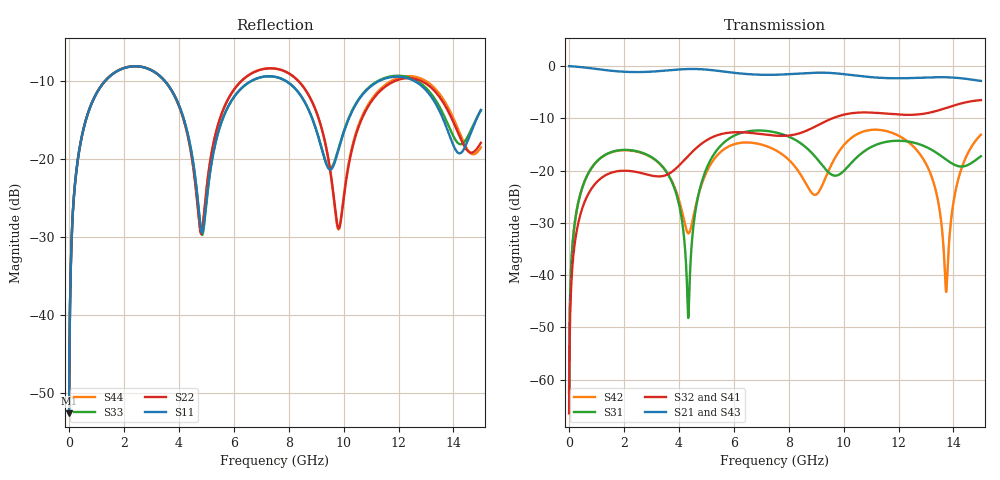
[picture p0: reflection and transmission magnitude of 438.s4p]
! Created with skrf 1.8.0 (http://scikit-rf.org).
# GHz S RI R 50.0
!freq ReS11 ImS11 ReS12 ImS12 ReS13 ImS13
! ReS14 ImS14
! ReS21 ImS21 ReS22 ImS22 ReS23 ImS23
! ReS24 ImS24
! ReS31 ImS31 ReS32 ImS32 ReS33 ImS33
! ReS34 ImS34
! ReS41 ImS41 ReS42 ImS42 ReS43 ImS43
! ReS44 ImS44
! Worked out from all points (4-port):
!   2499 points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, 5 MHz to 15 GHz, reference 50 ohm
!   strongest paths, dB at 5 MHz, 3.476 GHz, 7.19 GHz, 11.1 GHz, 15 GHz:
!     S21: 0.0, -0.9, -1.7, -2.2, -2.8
!     S43: 0.0, -0.9, -1.7, -2.2, -2.8
!     S32: -66.4, -21.0, -13.1, -8.9, -6.5
!     S41: -66.4, -21.0, -13.2, -8.9, -6.5
!     S31: -62.4, -19.7, -12.4, -15.2, -17.2
!     S42: -62.4, -19.7, -15.3, -12.2, -13.1
!   lowest |S11| = -52.7 dB at 5 MHz (marker M1), VSWR 1.00, Z = 50.2 + j0.141 ohm
!   |S11| at or under -10 dB: 3.485 GHz to 6.646 GHz (3.161 GHz wide, 62.4 % of centre); 7.892 GHz to 11.31 GHz (3.415 GHz wide, 35.6 % of centre); 12.57 GHz to end of sweep (the widest 3 of 4)
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0.005  0.00185 0.00141  0.9981 -0.00361  9.44e-05 0.00075  -9.15e-05 -0.000468
       0.9981 -0.00361  0.00185 0.00141  -9.15e-05 -0.000468  9.43e-05 0.00075
       9.44e-05 0.00075  -9.15e-05 -0.000468  0.00185 0.00141  0.9981 -0.00361
       -9.15e-05 -0.000468  9.43e-05 0.00075  0.9981 -0.00361  0.00185 0.00141
1.77574  0.3447 0.1256  0.3505 -0.8189  0.1533 0.0281  -0.095 0.0268
         0.3505 -0.8189  0.3456 0.1244  -0.0951 0.0269  0.1513 0.0326
         0.1533 0.0281  -0.0951 0.0269  0.3447 0.1257  0.3505 -0.8189
         -0.095 0.0268  0.1513 0.0326  0.3505 -0.8189  0.3457 0.1244
4.344091  0.0708 -0.1204  -0.8615 -0.3693  0.00388 0.000369  -0.0508 0.1287
          -0.8615 -0.3693  0.0679 -0.1172  -0.05 0.129  -0.0235 -0.00896
          0.00388 0.000369  -0.05 0.129  0.0703 -0.1209  -0.8615 -0.3693
          -0.0508 0.1287  -0.0235 -0.00896  -0.8615 -0.3693  0.0686 -0.1172
5.708629  0.1436 0.1411  -0.7663 0.4358  0.1698 0.0895  0.1472 0.174
          -0.7663 0.4358  0.1632 0.1544  0.1486 0.1735  0.0948 0.1341
          0.1698 0.0895  0.1486 0.1735  0.142 0.1417  -0.7661 0.436
          0.1472 0.174  0.0948 0.1341  -0.7661 0.436  0.1648 0.1537
9.766569  0.0938 0.0508  0.8447 0.0924  -0.0655 0.0616  0.0297 -0.3278
          0.8447 0.0924  0.0341 -0.0177  0.0246 -0.328  0.09 0.1115
          -0.0655 0.0616  0.0246 -0.328  0.0953 0.0526  0.8447 0.0908
          0.0297 -0.3278  0.09 0.1115  0.8447 0.0908  0.0337 -0.0154
13.73697  0.1402 -0.0785  -0.5462 -0.5594  -0.0927 -0.0876  -0.2811 0.2799
          -0.5462 -0.5594  0.1764 -0.1189  -0.2744 0.2875  -0.00682 -0.00118
          -0.0927 -0.0876  -0.2744 0.2875  0.1565 -0.0809  -0.5433 -0.5585
          -0.2811 0.2799  -0.00682 -0.00118  -0.5433 -0.5585  0.1802 -0.1336
15  0.1789 0.1015  -0.7206 0.0243  0.00736 0.1371  0.0431 0.4705
    -0.7206 0.0243  0.1237 0.027  0.054 0.4693  0.1361 0.1736
    0.00736 0.1371  0.054 0.4693  0.186 0.0847  -0.7215 0.0225
    0.0431 0.4705  0.1361 0.1736  -0.7215 0.0225  0.1172 0.0152
